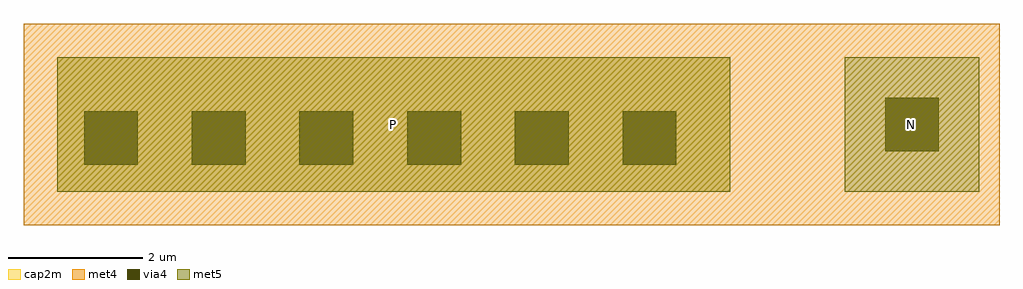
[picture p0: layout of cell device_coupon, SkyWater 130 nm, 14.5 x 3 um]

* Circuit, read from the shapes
.subckt device_coupon N P
XC1 P N sky130_fd_pr__cap_mim_m3_2 w=10 l=2
.ends

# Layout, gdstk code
import gdstk
lib = gdstk.Library(unit=1e-6, precision=1e-09)
def R(c, l, rs):  # rectangles x0, y0, x1, y1
    for r in rs: c.add(gdstk.rectangle(r[:2], r[2:], *l))
def A(c, l, x, y, w, h, nx, ny, dx, dy):  # array of equal rectangles
    R(c, l, [(x+i*dx, y+j*dy, x+i*dx+w, y+j*dy+h) for i in range(nx) for j in range(ny)])
met4 = (71, 20)
via4 = (71, 44)
met5 = (72, 20)
cap2m = (97, 44)

device_coupon = lib.new_cell('device_coupon')
R(device_coupon, met4, [(-0.5,-0.5,14,2.5)])
A(device_coupon, via4, 0.4, 0.4, 0.8, 0.8, 6, 1, 1.6, 0)
R(device_coupon, via4, [(12.3,0.6,13.1,1.4)])
R(device_coupon, met5, [(0,0,10,2), (11.7,0,13.7,2)])
R(device_coupon, cap2m, [(0,0,10,2)])
device_coupon.add(gdstk.Label('N', (12.7,1), layer=72, texttype=5))
device_coupon.add(gdstk.Label('P', (5,1), layer=72, texttype=5))

lib.write_gds('device_coupon.gds')
